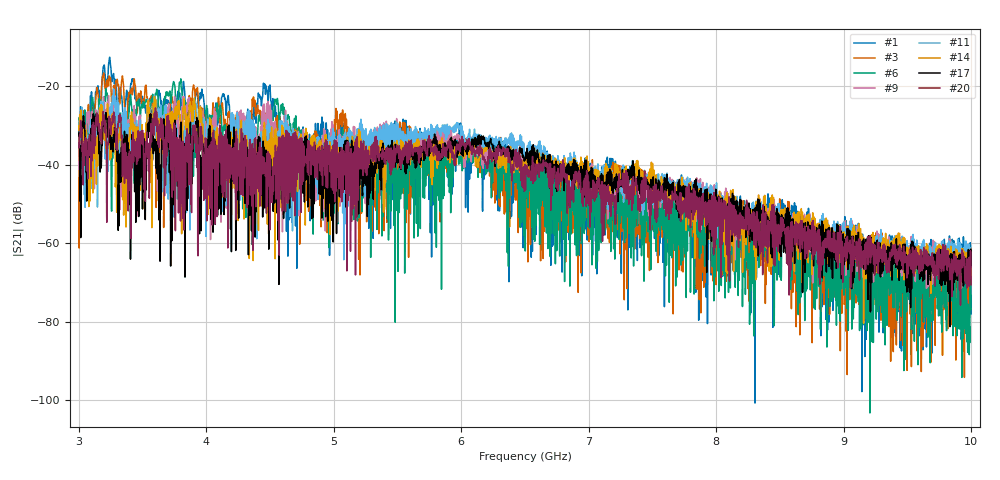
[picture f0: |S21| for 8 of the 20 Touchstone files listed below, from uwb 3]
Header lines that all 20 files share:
!Agilent Technologies,E8363B,MY43030572,A.06.04.32
!Agilent E8363B: A.06.04.32
!Correction: S11(Full 2 Port(1,2)) S21(Full 2 Port(1,2)) S12(Full 2 Port(1,2)) S22(Full 2 Port(1,2))
!S2P File: Measurements: S11, S21, S12, S22:
# Hz S  dB  R 50
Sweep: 3 GHz to 10 GHz
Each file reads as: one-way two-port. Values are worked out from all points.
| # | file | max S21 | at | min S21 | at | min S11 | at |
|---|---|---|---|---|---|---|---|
| 1 | 6s13.s2p | -12.60 dB | 3.242 GHz | -100.7 dB | 8.305 GHz | -56.0 dB | 5.941 GHz |
| 2 | 6s14.s2p | -14.30 dB | 3.272 GHz | -103.6 dB | 9.074 GHz | -61.7 dB | 5.941 GHz |
| 3 | 6s23.s2p | -16.63 dB | 3.194 GHz | -94.2 dB | 9.947 GHz | -67.1 dB | 5.941 GHz |
| 4 | 6s24.s2p | -16.82 dB | 3.011 GHz | -92.8 dB | 9.542 GHz | -63.7 dB | 5.941 GHz |
| 5 | 7s13.s2p | -16.05 dB | 3.732 GHz | -99.9 dB | 9.943 GHz | -60.4 dB | 8.047 GHz |
| 6 | 7s14.s2p | -18.11 dB | 3.8 GHz | -103.3 dB | 9.206 GHz | -60.4 dB | 8.047 GHz |
| 7 | 7s23.s2p | -19.71 dB | 3.784 GHz | -95.1 dB | 9.928 GHz | -68.9 dB | 5.941 GHz |
| 8 | 7s24.s2p | -19.80 dB | 3.609 GHz | -101.2 dB | 9.47 GHz | -68.0 dB | 5.941 GHz |
| 9 | 8s13.s2p | -21.87 dB | 3.272 GHz | -71.5 dB | 9.65 GHz | -63.8 dB | 6.32 GHz |
| 10 | 8s14.s2p | -20.39 dB | 3.171 GHz | -72.3 dB | 9.822 GHz | -60.7 dB | 3.237 GHz |
| 11 | 8s23.s2p | -20.69 dB | 3.272 GHz | -67.6 dB | 9.774 GHz | -58.1 dB | 3.575 GHz |
| 12 | 8s24.s2p | -20.56 dB | 3.619 GHz | -67.7 dB | 9.81 GHz | -60.2 dB | 3.237 GHz |
| 13 | 9s13.s2p | -23.46 dB | 3.8 GHz | -82.8 dB | 8.538 GHz | -63.2 dB | 5.879 GHz |
| 14 | 9s14.s2p | -22.62 dB | 3.593 GHz | -80.4 dB | 9.157 GHz | -64.1 dB | 5.879 GHz |
| 15 | 9s23.s2p | -24.70 dB | 3.245 GHz | -91.5 dB | 8.517 GHz | -58.6 dB | 7.966 GHz |
| 16 | 9s24.s2p | -21.62 dB | 3.217 GHz | -79.6 dB | 9.27 GHz | -59.1 dB | 5.879 GHz |
| 17 | 10s13.s2p | -26.68 dB | 3.212 GHz | -81.3 dB | 9.835 GHz | -60.1 dB | 5.879 GHz |
| 18 | 10s14.s2p | -26.35 dB | 3.611 GHz | -75.7 dB | 8.485 GHz | -79.7 dB | 6.945 GHz |
| 19 | 10s23.s2p | -22.80 dB | 3.207 GHz | -76.9 dB | 9.51 GHz | -59.9 dB | 7.785 GHz |
| 20 | 10s24.s2p | -25.51 dB | 3.6 GHz | -75.8 dB | 9.917 GHz | -61.6 dB | 6.1 GHz |
